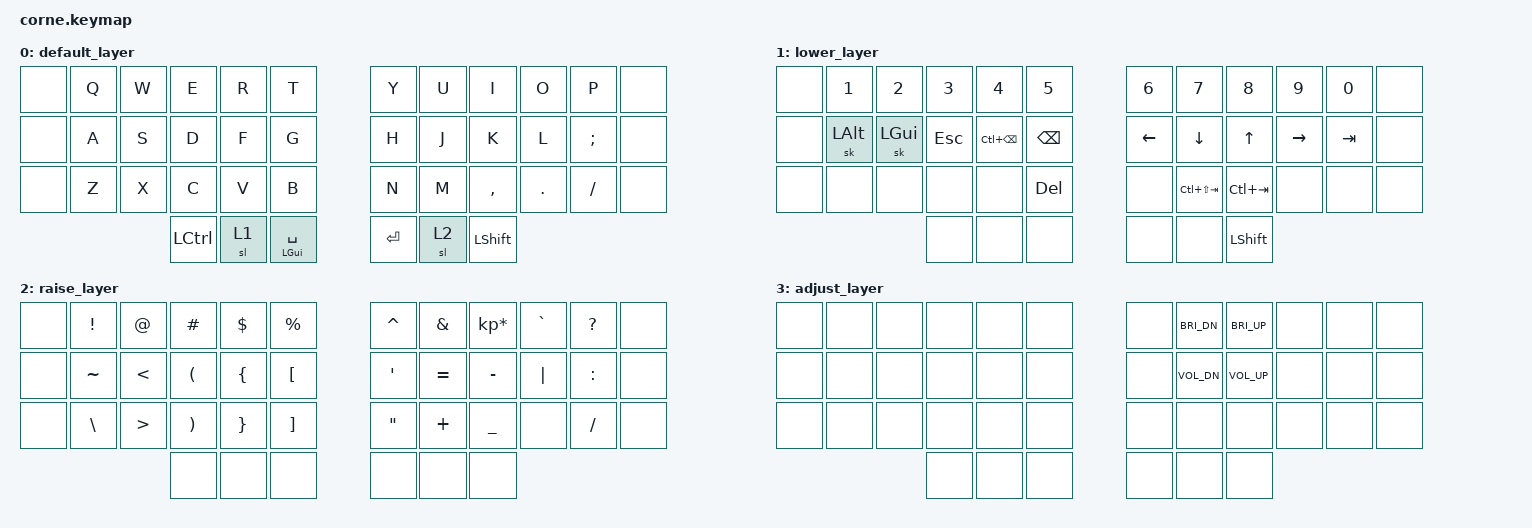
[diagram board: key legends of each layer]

/*
 * Copyright (c) 2020 The ZMK Contributors
 *
 * SPDX-License-Identifier: MIT
 */

#include <behaviors.dtsi>
#include <dt-bindings/zmk/keys.h>
#include <dt-bindings/zmk/bt.h>

#define DEFAULT 0
#define LOWER   1
#define RAISE   2
#define ADJUST  3

// TODO LCTL and LSFT should cancel any sticky modifiers
/ {
        // This does not work yet, maybe because of the sticky behavior
        conditional_layers {
                compatible = "zmk,conditional-layers";
                tri_layer {
                        if-layers = <1 2>;
                        then-layer = <3>;
                };
        };

        behaviors {
                rpi: require_prior_idle {
                        compatible = "zmk,behavior-hold-tap";
                        label = "REQUIRE_PRIOR_IDLE";
                        #binding-cells = <2>;
                        flavor = "tap-preferred";
                        tapping-term-ms = <200>;
                        quick-tap-ms = <200>;
                        require-prior-idle-ms = <125>;
                        bindings = <&kp>, <&kp>;
                };
        };

        keymap {
                compatible = "zmk,keymap";

                default_layer {
                        bindings = <
   &none &kp Q     &kp W     &kp E     &kp R     &kp T               &kp Y     &kp U     &kp I     &kp O     &kp P     &none
   &none &kp A     &kp S     &kp D     &kp F     &kp G               &kp H     &kp J     &kp K     &kp L     &kp SEMI  &none
   &none &kp Z     &kp X     &kp C     &kp V     &kp B               &kp N     &kp M     &kp COMMA &kp DOT   &kp FSLH  &none
                             &kp LCTRL &sl 1     &rpi LGUI SPACE  &kp RET   &sl 2     &kp LSHFT
                        >;
                };

                lower_layer {
                        bindings = <
   &none &kp N1    &kp N2     &kp N3    &kp N4       &kp N5              &kp N6    &kp N7          &kp N8      &kp N9    &kp N0  &none
   &none &sk LALT  &sk LGUI   &kp ESC   &kp LC(BSPC) &kp BSPC            &kp LEFT  &kp DOWN        &kp UP      &kp RIGHT &kp TAB &none
   &none &none     &none      &none     &none        &kp DEL             &none     &kp LC(LS(TAB)) &kp LC(TAB) &none     &none   &none
                              &none     &none        &none               &none     &none           &kp LSHFT
                        >;
                };

                raise_layer {
                        bindings = <
   &none &kp EXCL  &kp AT    &kp HASH  &kp DLLR  &kp PRCNT           &kp CARET &kp AMPS  &kp KP_MULTIPLY &kp GRAVE &kp QMARK &none
   &none &kp TILDE &kp LT    &kp LPAR  &kp LBRC  &kp LBKT            &kp SQT   &kp EQUAL &kp MINUS       &kp PIPE  &kp COLON &none
   &none &kp BSLH  &kp GT    &kp RPAR  &kp RBRC  &kp RBKT            &kp DQT   &kp PLUS  &kp UNDER       &none     &kp SLASH &none
                             &none     &none     &none               &none     &none     &none
                        >;
                };

                adjust_layer {
                        bindings = <
   &none &none     &none     &none     &none     &none               &none     &kp C_BRI_DN &kp C_BRI_UP &none     &none     &none
   &none &none     &none     &none     &none     &none               &none     &kp C_VOL_DN &kp C_VOL_UP &none     &none     &none
   &none &none     &none     &none     &none     &none               &none     &none        &none        &none     &none     &none
                             &none     &none     &none               &none     &none        &none
                        >;
                };
        };
};
